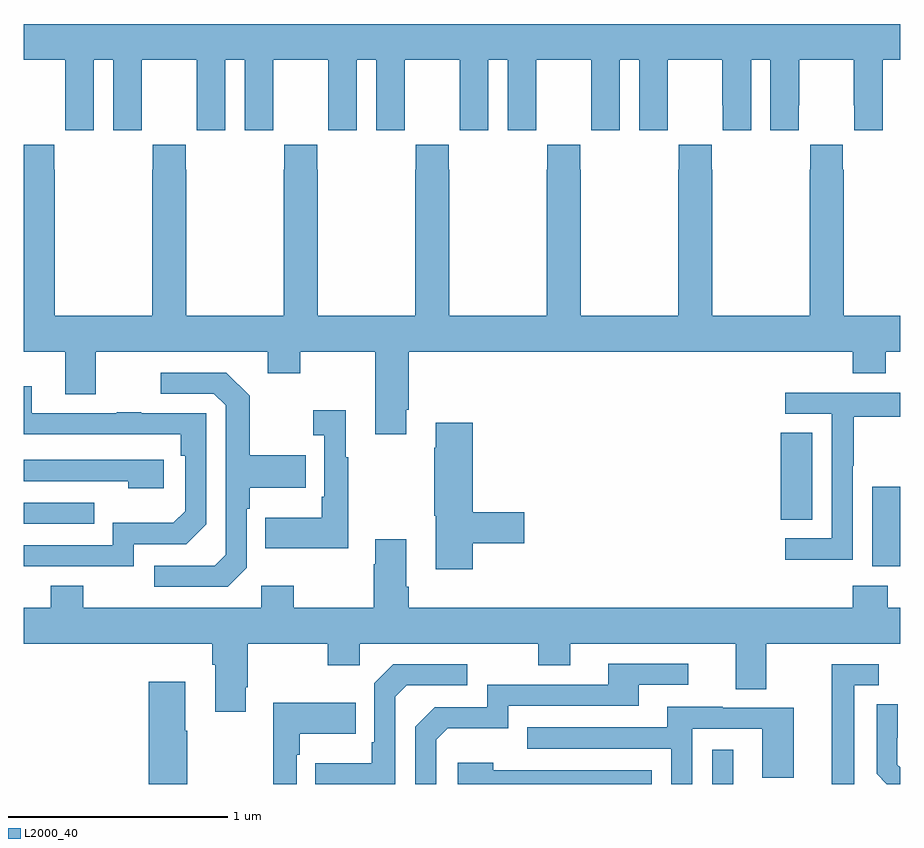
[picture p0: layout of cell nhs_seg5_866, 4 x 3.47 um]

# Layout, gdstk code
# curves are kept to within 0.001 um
import gdstk
lib = gdstk.Library(unit=1e-6, precision=1e-09)
def R(c, l, rs):  # rectangles x0, y0, x1, y1
    for r in rs: c.add(gdstk.rectangle(r[:2], r[2:], *l))
def P(c, l, *ps):  # polygons
    for p in ps: c.add(gdstk.Polygon(p, *l))
L2000_40 = (2000, 40)

nhs_seg5_866 = lib.new_cell('nhs_seg5_866')
R(nhs_seg5_866, L2000_40, [(170.142,842.799,170.239,842.956), (170.873,843.794,171,844.155), (167,843.987,167.321,844.083), (170.456,844.006,170.599,844.403)])
P(nhs_seg5_866, L2000_40, [(167.32,846.104),(167.408,846.104),(167.408,845.784),(167.538,845.784),(167.538,845.896),(167.539,845.896),(167.539,846.104),(167.789,846.104),(167.789,845.896),(167.79,845.896),(167.79,845.784),(167.92,845.784),(167.92,846.104),(168.008,846.104),(168.008,845.784),(168.138,845.784),(168.138,845.896),(168.139,845.896),(168.139,846.104),(168.389,846.104),(168.389,845.896),(168.39,845.896),(168.39,845.784),(168.52,845.784),(168.52,846.104),(168.608,846.104),(168.608,845.784),(168.738,845.784),(168.738,845.896),(168.739,845.896),(168.739,846.104),(168.989,846.104),(168.989,845.896),(168.99,845.896),(168.99,845.784),(169.12,845.784),(169.12,846.104),(169.208,846.104),(169.208,845.784),(169.338,845.784),(169.338,845.896),(169.339,845.896),(169.339,846.104),(169.589,846.104),(169.589,845.896),(169.59,845.896),(169.59,845.784),(169.72,845.784),(169.72,846.104),(169.808,846.104),(169.808,845.784),(169.938,845.784),(169.938,845.896),(169.939,845.896),(169.939,846.104),(170.189,846.104),(170.189,845.896),(170.19,845.896),(170.19,845.784),(170.32,845.784),(170.32,846.104),(170.408,846.104),(170.408,845.784),(170.538,845.784),(170.538,845.896),(170.539,845.896),(170.539,846.104),(170.789,846.104),(170.789,845.896),(170.79,845.896),(170.79,845.784),(170.92,845.784),(170.92,846.104),(171,846.104),(171,846.268),(167,846.268),(167,846.104),(167.189,846.104),(167.189,845.896),(167.19,845.896),(167.19,845.784),(167.32,845.784)],
  [(170.783,844.673),(170.935,844.673),(170.935,844.772),(171,844.772),(171,844.936),(170.742,844.936),(170.742,845.603),(170.739,845.603),(170.739,845.716),(170.589,845.716),(170.589,845.603),(170.587,845.603),(170.587,844.936),(170.142,844.936),(170.142,845.603),(170.139,845.603),(170.139,845.716),(169.989,845.716),(169.989,845.603),(169.987,845.603),(169.987,844.936),(169.542,844.936),(169.542,845.603),(169.539,845.603),(169.539,845.716),(169.389,845.716),(169.389,845.603),(169.387,845.603),(169.387,844.936),(168.942,844.936),(168.942,845.603),(168.939,845.603),(168.939,845.716),(168.789,845.716),(168.789,845.603),(168.787,845.603),(168.787,844.936),(168.342,844.936),(168.342,845.603),(168.339,845.603),(168.339,845.716),(168.189,845.716),(168.189,845.603),(168.187,845.603),(168.187,844.936),(167.742,844.936),(167.742,845.603),(167.739,845.603),(167.739,845.716),(167.589,845.716),(167.589,845.603),(167.587,845.603),(167.587,844.936),(167.142,844.936),(167.142,845.603),(167.139,845.603),(167.139,845.716),(167,845.716),(167,844.772),(167.189,844.772),(167.189,844.578),(167.329,844.578),(167.329,844.772),(168.113,844.772),(168.113,844.673),(168.261,844.673),(168.261,844.772),(168.605,844.772),(168.605,844.395),(168.745,844.395),(168.745,844.507),(168.758,844.507),(168.758,844.772),(170.783,844.772)],
  [(168.018,843.786),(168.018,844.055),(168.031,844.055),(168.031,844.151),(168.287,844.151),(168.287,844.299),(168.031,844.299),(168.031,844.571),(167.925,844.677),(167.625,844.677),(167.625,844.581),(167.868,844.581),(167.922,844.527),(167.922,843.846),(167.871,843.795),(167.595,843.795),(167.595,843.699),(167.931,843.699)],
  [(167.502,843.894),(167.742,843.894),(167.832,843.984),(167.832,844.491),(167.537,844.491),(167.537,844.496),(167.425,844.496),(167.425,844.491),(167.035,844.491),(167.035,844.615),(167,844.615),(167,844.396),(167.716,844.395),(167.716,844.298),(167.736,844.298),(167.736,844.044),(167.683,843.991),(167.406,843.991),(167.406,843.888),(167,843.888),(167,843.792),(167.502,843.792)],
  [(170.784,844.252),(170.787,844.252),(170.787,844.476),(171,844.476),(171,844.584),(170.475,844.584),(170.475,844.488),(170.688,844.488),(170.688,843.921),(170.475,843.921),(170.475,843.823),(170.784,843.823)],
  [(168.481,844.291),(168.469,844.291),(168.469,844.504),(168.321,844.504),(168.321,844.391),(168.372,844.391),(168.372,844.111),(168.36,844.111),(168.36,844.015),(168.103,844.015),(168.103,843.875),(168.481,843.875)],
  [(169.049,843.898),(169.285,843.898),(169.285,844.04),(169.049,844.04),(169.049,844.447),(168.881,844.447),(168.881,844.334),(168.874,844.334),(168.874,844.023),(168.881,844.023),(168.881,843.78),(169.049,843.78)],
  [(167.638,844.278),(167,844.278),(167,844.182),(167.477,844.182),(167.477,844.148),(167.638,844.148)],
  [(167.271,843.703),(167.123,843.703),(167.123,843.604),(167,843.604),(167,843.44),(167.861,843.44),(167.861,843.344),(167.873,843.344),(167.873,843.129),(168.013,843.129),(168.013,843.241),(168.021,843.241),(168.021,843.44),(168.388,843.44),(168.388,843.341),(168.534,843.341),(168.534,843.44),(169.348,843.44),(169.348,843.341),(169.495,843.341),(169.495,843.44),(170.249,843.44),(170.249,843.232),(170.389,843.232),(170.389,843.44),(171,843.44),(171,843.604),(170.943,843.604),(170.943,843.703),(170.783,843.703),(170.783,843.604),(168.758,843.604),(168.758,843.7),(168.745,843.7),(168.745,843.916),(168.605,843.916),(168.605,843.803),(168.598,843.803),(168.598,843.604),(168.231,843.604),(168.231,843.703),(168.084,843.703),(168.084,843.604),(167.271,843.604)],
  [(168.882,843),(168.935,843.053),(169.212,843.053),(169.212,843.156),(169.807,843.156),(169.807,843.252),(170.032,843.252),(170.032,843.348),(169.667,843.348),(169.667,843.252),(169.116,843.252),(169.116,843.15),(168.876,843.15),(168.786,843.06),(168.786,842.799),(168.882,842.799)],
  [(170.791,843.249),(170.902,843.249),(170.902,843.345),(170.687,843.345),(170.687,842.799),(170.791,842.799)],
  [(168.696,843.198),(168.747,843.249),(169.024,843.249),(169.024,843.345),(168.687,843.345),(168.6,843.258),(168.6,842.989),(168.588,842.989),(168.588,842.893),(168.331,842.893),(168.331,842.799),(168.696,842.799)],
  [(167.745,843.041),(167.737,843.041),(167.737,843.265),(167.57,843.265),(167.57,842.799),(167.745,842.799)],
  [(168.246,842.933),(168.259,842.933),(168.259,843.029),(168.515,843.029),(168.515,843.169),(168.138,843.169),(168.138,842.799),(168.246,842.799)],
  [(171,842.875),(170.987,842.888),(170.987,843.01),(170.988,843.01),(170.988,843.164),(170.892,843.164),(170.892,842.846),(170.939,842.799),(171,842.799)],
  [(170.052,843.051),(170.37,843.051),(170.37,842.827),(170.515,842.827),(170.515,843.147),(170.191,843.147),(170.191,843.151),(169.937,843.151),(169.937,843.057),(169.297,843.057),(169.297,842.961),(169.956,842.961),(169.956,842.799),(170.052,842.799)],
  [(169.866,842.862),(169.142,842.862),(169.142,842.896),(168.981,842.896),(168.981,842.799),(169.866,842.799)])

lib.write_gds('nhs_seg5_866.gds')
